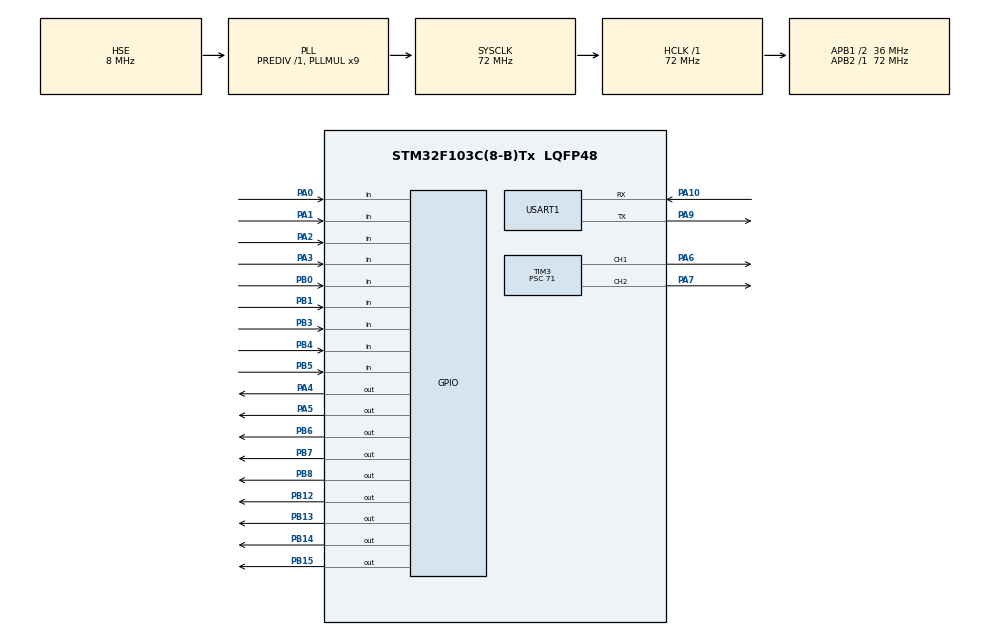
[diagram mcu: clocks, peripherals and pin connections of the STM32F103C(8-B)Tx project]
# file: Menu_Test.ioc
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Mcu.Family=STM32F1
Mcu.Name=STM32F103C(8-B)Tx
Mcu.Package=LQFP48
NVIC.PriorityGroup=NVIC_PRIORITYGROUP_4
NVIC.USART1_IRQn=true\:0\:0\:false\:false\:true\:true\:true\:true
PA0-WKUP.GPIO_PuPd=GPIO_PULLUP
PA0-WKUP.Signal=GPIO_Input
PA1.GPIO_PuPd=GPIO_PULLUP
PA1.Signal=GPIO_Input
PA10.Mode=Asynchronous
PA10.Signal=USART1_RX
PA13.Mode=Serial_Wire
PA13.Signal=SYS_JTMS-SWDIO
PA14.Mode=Serial_Wire
PA14.Signal=SYS_JTCK-SWCLK
PA2.GPIO_PuPd=GPIO_PULLUP
PA2.Signal=GPIO_Input
PA3.GPIO_PuPd=GPIO_PULLUP
PA3.Signal=GPIO_Input
PA4.PinState=GPIO_PIN_SET
PA4.Signal=GPIO_Output
PA5.PinState=GPIO_PIN_SET
PA5.Signal=GPIO_Output
PA6.Signal=S_TIM3_CH1
PA7.Signal=S_TIM3_CH2
PA9.Mode=Asynchronous
PA9.Signal=USART1_TX
PB0.GPIO_PuPd=GPIO_PULLUP
PB0.Signal=GPIO_Input
PB1.GPIO_PuPd=GPIO_PULLUP
PB1.Signal=GPIO_Input
PB12.GPIO_PuPd=GPIO_NOPULL
PB12.Signal=GPIO_Output
PB13.GPIO_PuPd=GPIO_NOPULL
PB13.Signal=GPIO_Output
PB14.GPIO_PuPd=GPIO_NOPULL
PB14.Signal=GPIO_Output
PB15.GPIO_PuPd=GPIO_NOPULL
PB15.Signal=GPIO_Output
PB3.GPIO_PuPd=GPIO_PULLUP
PB3.Signal=GPIO_Input
PB4.GPIO_PuPd=GPIO_PULLUP
PB4.Signal=GPIO_Input
PB5.GPIO_PuPd=GPIO_PULLUP
PB5.Signal=GPIO_Input
PB6.GPIO_Speed=GPIO_SPEED_FREQ_HIGH
PB6.PinState=GPIO_PIN_SET
PB6.Signal=GPIO_Output
PB7.GPIO_Speed=GPIO_SPEED_FREQ_HIGH
PB7.PinState=GPIO_PIN_SET
PB7.Signal=GPIO_Output
PB8.Signal=GPIO_Output
PD0-OSC_IN.Mode=HSE-External-Oscillator
PD0-OSC_IN.Signal=RCC_OSC_IN
PD1-OSC_OUT.Mode=HSE-External-Oscillator
PD1-OSC_OUT.Signal=RCC_OSC_OUT
ProjectManager.HeapSize=0x200
ProjectManager.StackSize=0x400
ProjectManager.TargetToolchain=MDK-ARM V5.32
RCC.AHBFreq_Value=72000000
RCC.APB1CLKDivider=RCC_HCLK_DIV2
RCC.APB1Freq_Value=36000000
RCC.APB1TimFreq_Value=72000000
RCC.APB2Freq_Value=72000000
RCC.APB2TimFreq_Value=72000000
RCC.HCLKFreq_Value=72000000
RCC.PLLMUL=RCC_PLL_MUL9
RCC.PLLSourceVirtual=RCC_PLLSOURCE_HSE
RCC.SYSCLKFreq_VALUE=72000000
RCC.SYSCLKSource=RCC_SYSCLKSOURCE_PLLCLK
RCC.USBFreq_Value=72000000
SH.S_TIM3_CH1.0=TIM3_CH1,PWM Generation1 CH1
SH.S_TIM3_CH2.0=TIM3_CH2,PWM Generation2 CH2
TIM3.Channel-PWM\ Generation1\ CH1=TIM_CHANNEL_1
TIM3.Channel-PWM\ Generation2\ CH2=TIM_CHANNEL_2
TIM3.Period=99
TIM3.Prescaler=71
USART1.VirtualMode=VM_ASYNC
board=custom

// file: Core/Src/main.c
/* USER CODE BEGIN Header */
/**
  ******************************************************************************
  * @file           : main.c
  * @brief          : Main program body
  ******************************************************************************
  * @attention
  *
  * Copyright (c) 2026 STMicroelectronics.
  * All rights reserved.
  *
  * This software is licensed under terms that can be found in the LICENSE file
  * in the root directory of this software component.
  * If no LICENSE file comes with this software, it is provided AS-IS.
  *
  ******************************************************************************
  */
/* USER CODE END Header */
#include "main.h"

/* USER CODE BEGIN Includes */
#include "app.h"
#include "key.h"
#include "led.h"
#include "oled.h"
#include "uart.h"
#include "line.h"
#include "motor.h"
#include "beep.h"
#include <stdio.h>
/* USER CODE END Includes */

TIM_HandleTypeDef htim3;

UART_HandleTypeDef huart1;

void SystemClock_Config(void);
static void MX_GPIO_Init(void);
static void MX_USART1_UART_Init(void);
static void MX_TIM3_Init(void);

/* USER CODE BEGIN 0 */
/**
  * @brief printf 重定向：所有 printf 输出通过 USART1 发送
  * @note  Keil 需勾选 Use MicroLIB
  */
int fputc(int ch, FILE *f)
{
  HAL_UART_Transmit(&huart1, (uint8_t *)&ch, 1, HAL_MAX_DELAY);
  return ch;
}

/* ================= 巡线全局状态 ================= */
uint8_t  line_running     = 0;   /* 0=停车，1=跑圈中 */
uint32_t line_start_tick  = 0;   /* 发车时刻（HAL_GetTick） */
uint32_t line_sample_tick = 0;   /* 10ms 采样计时 */
uint32_t line_ui_tick     = 0;   /* 100ms 显示计时 */
uint32_t line_lost_tick   = 0;   /* 脱线（全白）起始时刻，0 表示在线 */
float    last_time        = 0.0f;/* 本圈用时（秒，保留 1 位小数） */
uint8_t  line_black_cnt   = 0;   /* 全黑连续采样次数（消抖用） */

/* 上一次动作：脱线（全白）时沿用，给小车"找线"的机会 */
#define LINE_ACT_FORWARD  0
#define LINE_ACT_LEFT     1
#define LINE_ACT_RIGHT    2
uint8_t  last_error_action = LINE_ACT_FORWARD;
/* USER CODE END 0 */

int main(void)
{

  /* USER CODE BEGIN 1 */
  uint8_t key;                  /* 本周期扫描到的按键值，0 表示没按键 */
  uint32_t led_ui_tick = 0;     /* LED 状态界面上次刷新时间 */
  char line_spaced[12];         /* "1 1 0 1 1" 格式的传感器状态 */
  /* USER CODE END 1 */

  /* MCU Configuration--------------------------------------------------------*/

  /* Reset of all peripherals, Initializes the Flash interface and the Systick. */
  HAL_Init();

  /* Configure the system clock */
  SystemClock_Config();

  /* Initialize all configured peripherals */
  MX_GPIO_Init();
  MX_USART1_UART_Init();
  MX_TIM3_Init();
  /* USER CODE BEGIN 2 */
  OLED_Init();                  /* OLED 初始化：软件 I2C，PB6=SCL，PB7=SDA */
  Refresh_Display();            /* 上电先显示主菜单 */
  UART_Start();                 /* 启动第一次串口接收中断 */

	LED_Force_Off();
  Motor_Init();                 /* 电机方向引脚 + TIM3 双路 PWM */
  Beep_Init();                  /* 蜂鸣器 PB8 */
  Line_Init();                  /* 5 路传感器 + 关闭 JTAG（PB3/PB4）*/
  /* USER CODE END 2 */

  /* Infinite loop */
  while (1)
  {

    /* USER CODE BEGIN 3 */

    key = Key_Scan();                      /* 1. 扫描按键（内部 20ms 消抖）*/

    if (key != 0)                          /* 2. 有按键才处理 */
    {
      if (sys_state == MENU_MAIN)
      {
        /* ---------- 主菜单：移动光标或进入子菜单 ---------- */
        if (key == 1)                       /* 按键1：光标上移（0 的上一个是 3）*/
        {
          menu_cursor = (menu_cursor + MENU_ITEMS - 1) % MENU_ITEMS;
          Refresh_Display();
        }
        else if (key == 2)                  /* 按键2：光标下移（3 的下一个是 0）*/
        {
          menu_cursor = (menu_cursor + 1) % MENU_ITEMS;
          Refresh_Display();
        }
        else if (key == 3)                  /* 按键3：进入光标选中的子菜单 */
        {
          switch (menu_cursor)
          {
            case 0: sys_state = MENU_LED;  break;
            case 1: sys_state = MENU_INFO; break;
            case 2: Motor_Stop();          /* 进巡线界面先确保电机停转 */
                    sys_state = MODE_LINE; break;
            case 3: sys_state = MENU_EXT;  break;
            default: sys_state = MENU_MAIN; break;
          }
          Refresh_Display();        /* LED 子菜单的 Refresh_Display 内部会显示状态 */
        }
      }
      else if (sys_state == MENU_LED)
      {
        /* ---------- LED 子菜单 ---------- */
        if (key == 1)
        {
          LED_Toggle_All();                 /* 常亮 / 常灭切换，并打断闪烁 */
        }
        else if (key == 2)
        {
          LED_Start_Blink();                /* 开始交替闪烁，重新计时 30 秒 */
        }
        else if (key == 4)
        {
          LED_Force_Off();                  /* 关灯、清除闪烁状态 */
          sys_state = MENU_MAIN;
          Refresh_Display();
        }
      }
      else if (sys_state == MODE_LINE)
      {
        /* ---------- 巡线子菜单 ---------- */
        if (key == 1 && line_running == 0)      /* 按键1：开始巡线 */
        {
          Beep_Once();                          /* 先响一声，约 100ms */
          line_running      = 1;
          line_start_tick   = HAL_GetTick();    /* 发车瞬间开始计时 */
          line_sample_tick  = HAL_GetTick();
          line_ui_tick      = 0;                /* 立即刷新界面 */
          line_black_cnt    = 0;
          line_lost_tick    = 0;                /* 清除脱线状态 */
          last_error_action = LINE_ACT_FORWARD; /* 起步默认直行 */
          last_time         = 0.0f;             /* 清空上一圈成绩 */
          printf("LINE START\r\n");
        }
        else if (key == 4)                      /* 按键4：强制停车并退出 */
        {
          Motor_Stop();

          if (line_running)                     /* 中途手动停止，记录已用时 */
          {
            last_time = (HAL_GetTick() - line_start_tick) / 1000.0f;
            printf("LINE ABORT: %.1f s\r\n", last_time);
          }

          line_running = 0;
          sys_state = MENU_MAIN;
          Refresh_Display();
        }
      }
      else
      {
        /* ---------- 其它子菜单：只响应返回键 ---------- */
        if (key == 4)
        {
          sys_state = MENU_MAIN;
          Refresh_Display();
        }
      }
    }

    /* 3. 串口任务："111" 修改 var_a，"GET A" 返回 var_a */
    UART_Task();

    /* 4. var_a 被修改且正在信息界面时，刷新屏幕 */
    if (uart_refresh_flag)
    {
      uart_refresh_flag = 0;
      if (sys_state == MENU_INFO)
      {
        Refresh_Display();
      }
    }

    /* 5. LED 闪烁计时任务：每个循环都调用，内部非阻塞 */
    LED_Task();

    /* 6. LED 子菜单：按键后立即刷新，闪烁期间每 200ms 刷新一次 */
    if (sys_state == MENU_LED &&
        (key != 0 || (HAL_GetTick() - led_ui_tick) >= 200))
    {
      led_ui_tick = HAL_GetTick();
      Refresh_LED_Status();
    }

    /* 7. 巡线任务：10ms 采样控制，100ms 刷新显示 */
    if (sys_state == MODE_LINE)
    {
      /* --- 10ms：读传感器并控制电机 --- */
      if (line_running && (HAL_GetTick() - line_sample_tick) >= 10)
      {
        const char *s;
        uint8_t left, right, mid;

        line_sample_tick = HAL_GetTick();
        s = Line_ReadSensors();

        /* --- 判圈：连续 5 次全黑（约 50ms）+ 已跑 ≥3 秒 --- */
        if (Line_IsAllBlack())
        {
          if (line_black_cnt < 5) line_black_cnt++;
        }
        else
        {
          line_black_cnt = 0;
        }

        if (line_black_cnt >= 5 &&
            (HAL_GetTick() - line_start_tick) >= 3000)
        {
          Motor_Stop();                              /* 自动停车 */
          last_time = (HAL_GetTick() - line_start_tick) / 1000.0f;
          line_running = 0;
          line_black_cnt = 0;
          line_lost_tick = 0;
          line_ui_tick = 0;                          /* 立即刷新最终画面 */
          printf("LAP DONE: %.1f s\r\n", last_time);
        }
        else
        {
          left  = (s[0] == '0' || s[1] == '0');
          right = (s[3] == '0' || s[4] == '0');
          mid   = (s[2] == '0');

          if (left && right)                    /* 宽线 / 两侧都压：居中直行 */
          {
            Motor_Forward();
            last_error_action = LINE_ACT_FORWARD;
            line_lost_tick = 0;
          }
          else if (left)                        /* 左侧压线：急左转 */
          {
            Motor_TurnLeft();
            last_error_action = LINE_ACT_LEFT;
            line_lost_tick = 0;
          }
          else if (right)                       /* 右侧压线：急右转 */
          {
            Motor_TurnRight();
            last_error_action = LINE_ACT_RIGHT;
            line_lost_tick = 0;
          }
          else if (mid)                         /* 中间压线：直行 */
          {
            Motor_Forward();
            last_error_action = LINE_ACT_FORWARD;
            line_lost_tick = 0;
          }
          else                                  /* 全白：脱线找线，绝不停车 */
          {
            if (line_lost_tick == 0) line_lost_tick = HAL_GetTick();

            if ((HAL_GetTick() - line_lost_tick) <= 300)
            {
              /* 300ms 内：保持上一次的转向继续找线 */
              if (last_error_action == LINE_ACT_LEFT)       Motor_TurnLeft();
              else if (last_error_action == LINE_ACT_RIGHT) Motor_TurnRight();
              else                                          Motor_Forward();
            }
            else
            {
              /* 超过 300ms 仍无线：改直行继续找，仍然不停车 */
              Motor_Forward();
              last_error_action = LINE_ACT_FORWARD;
            }
          }
        }
      }

      /* --- 100ms：刷新 OLED 和串口 --- */
      if ((HAL_GetTick() - line_ui_tick) >= 100)
      {
        const char *s;
        char buf[24];

        line_ui_tick = HAL_GetTick();
        s = Line_ReadSensors();

        sprintf(line_spaced, "%c %c %c %c %c",
                s[0], s[1], s[2], s[3], s[4]);

        OLED_ShowString(0, 0, "==== LINE ====");

        if (line_running)
        {
          /* 跑圈中：实时累加显示已用时间 */
          sprintf(buf, "Time: %.1f s",
                  (HAL_GetTick() - line_start_tick) / 1000.0f);
          OLED_ShowString(0, 7, "4:Stop");
        }
        else if (last_time > 0.0f)
        {
          /* 跑完一圈：固定显示本圈成绩（6x8 字库无中文，用 Last 代替“本圈用时”） */
          sprintf(buf, "Last: %.1f s", last_time);
          OLED_ShowString(0, 7, "1:Start 4:Back");
        }
        else
        {
          sprintf(buf, "1:Start 4:Back     ");
          OLED_ShowString(0, 7, "4:Back");
        }
        OLED_ShowString(0, 1, buf);
        OLED_ShowString(0, 2, line_spaced);

        printf("Sensor: %s  %s\r\n", line_spaced, line_running ? "RUN" : "STOP");
      }
    }

    HAL_Delay(5);

  /* USER CODE END 3 */
}
}
void SystemClock_Config(void)
{
  RCC_OscInitTypeDef RCC_OscInitStruct = {0};
  RCC_ClkInitTypeDef RCC_ClkInitStruct = {0};

  /** Initializes the RCC Oscillators according to the specified parameters
  * in the RCC_OscInitTypeDef structure.
  */
  RCC_OscInitStruct.OscillatorType = RCC_OSCILLATORTYPE_HSE;
  RCC_OscInitStruct.HSEState = RCC_HSE_ON;
  RCC_OscInitStruct.HSEPredivValue = RCC_HSE_PREDIV_DIV1;
  RCC_OscInitStruct.HSIState = RCC_HSI_ON;
  RCC_OscInitStruct.PLL.PLLState = RCC_PLL_ON;
  RCC_OscInitStruct.PLL.PLLSource = RCC_PLLSOURCE_HSE;
  RCC_OscInitStruct.PLL.PLLMUL = RCC_PLL_MUL9;
  if (HAL_RCC_OscConfig(&RCC_OscInitStruct) != HAL_OK)
  {
    Error_Handler();
  }

  /** Initializes the CPU, AHB and APB buses clocks
  */
  RCC_ClkInitStruct.ClockType = RCC_CLOCKTYPE_HCLK|RCC_CLOCKTYPE_SYSCLK
                              |RCC_CLOCKTYPE_PCLK1|RCC_CLOCKTYPE_PCLK2;
  RCC_ClkInitStruct.SYSCLKSource = RCC_SYSCLKSOURCE_PLLCLK;
  RCC_ClkInitStruct.AHBCLKDivider = RCC_SYSCLK_DIV1;
  RCC_ClkInitStruct.APB1CLKDivider = RCC_HCLK_DIV2;
  RCC_ClkInitStruct.APB2CLKDivider = RCC_HCLK_DIV1;

  if (HAL_RCC_ClockConfig(&RCC_ClkInitStruct, FLASH_LATENCY_2) != HAL_OK)
  {
    Error_Handler();
  }
}

static void MX_TIM3_Init(void)
{

  TIM_MasterConfigTypeDef sMasterConfig = {0};
  TIM_OC_InitTypeDef sConfigOC = {0};

  htim3.Instance = TIM3;
  htim3.Init.Prescaler = 71;
  htim3.Init.CounterMode = TIM_COUNTERMODE_UP;
  htim3.Init.Period = 99;
  htim3.Init.ClockDivision = TIM_CLOCKDIVISION_DIV1;
  htim3.Init.AutoReloadPreload = TIM_AUTORELOAD_PRELOAD_DISABLE;
  if (HAL_TIM_PWM_Init(&htim3) != HAL_OK)
  {
    Error_Handler();
  }
  sMasterConfig.MasterOutputTrigger = TIM_TRGO_RESET;
  sMasterConfig.MasterSlaveMode = TIM_MASTERSLAVEMODE_DISABLE;
  if (HAL_TIMEx_MasterConfigSynchronization(&htim3, &sMasterConfig) != HAL_OK)
  {
    Error_Handler();
  }
  sConfigOC.OCMode = TIM_OCMODE_PWM1;
  sConfigOC.Pulse = 0;
  sConfigOC.OCPolarity = TIM_OCPOLARITY_HIGH;
  sConfigOC.OCFastMode = TIM_OCFAST_DISABLE;
  if (HAL_TIM_PWM_ConfigChannel(&htim3, &sConfigOC, TIM_CHANNEL_1) != HAL_OK)
  {
    Error_Handler();
  }
  if (HAL_TIM_PWM_ConfigChannel(&htim3, &sConfigOC, TIM_CHANNEL_2) != HAL_OK)
  {
    Error_Handler();
  }
  HAL_TIM_MspPostInit(&htim3);

}

static void MX_USART1_UART_Init(void)
{

  huart1.Instance = USART1;
  huart1.Init.BaudRate = 115200;
  huart1.Init.WordLength = UART_WORDLENGTH_8B;
  huart1.Init.StopBits = UART_STOPBITS_1;
  huart1.Init.Parity = UART_PARITY_NONE;
  huart1.Init.Mode = UART_MODE_TX_RX;
  huart1.Init.HwFlowCtl = UART_HWCONTROL_NONE;
  huart1.Init.OverSampling = UART_OVERSAMPLING_16;
  if (HAL_UART_Init(&huart1) != HAL_OK)
  {
    Error_Handler();
  }

}

static void MX_GPIO_Init(void)
{
  GPIO_InitTypeDef GPIO_InitStruct = {0};

  /* GPIO Ports Clock Enable */
  __HAL_RCC_GPIOD_CLK_ENABLE();
  __HAL_RCC_GPIOA_CLK_ENABLE();
  __HAL_RCC_GPIOB_CLK_ENABLE();

  /*Configure GPIO pin Output Level */
  HAL_GPIO_WritePin(GPIOA, GPIO_PIN_4|GPIO_PIN_5, GPIO_PIN_SET);

  /*Configure GPIO pin Output Level */
  HAL_GPIO_WritePin(GPIOB, GPIO_PIN_12|GPIO_PIN_13|GPIO_PIN_14|GPIO_PIN_15, GPIO_PIN_RESET);

  /* PB8 蜂鸣器为低电平触发：先写高电平，确保一上电绝对不响 */
  HAL_GPIO_WritePin(GPIOB, GPIO_PIN_8, GPIO_PIN_SET);

  /*Configure GPIO pin Output Level */
  HAL_GPIO_WritePin(GPIOB, GPIO_PIN_6|GPIO_PIN_7, GPIO_PIN_SET);

  /*Configure GPIO pins : PA0 PA1 PA2 PA3 */
  GPIO_InitStruct.Pin = GPIO_PIN_0|GPIO_PIN_1|GPIO_PIN_2|GPIO_PIN_3;
  GPIO_InitStruct.Mode = GPIO_MODE_INPUT;
  GPIO_InitStruct.Pull = GPIO_PULLUP;
  HAL_GPIO_Init(GPIOA, &GPIO_InitStruct);

  /*Configure GPIO pins : PA4 PA5 */
  GPIO_InitStruct.Pin = GPIO_PIN_4|GPIO_PIN_5;
  GPIO_InitStruct.Mode = GPIO_MODE_OUTPUT_PP;
  GPIO_InitStruct.Pull = GPIO_NOPULL;
  GPIO_InitStruct.Speed = GPIO_SPEED_FREQ_LOW;
  HAL_GPIO_Init(GPIOA, &GPIO_InitStruct);

  /*Configure GPIO pins : PB0 PB1 PB3 PB4
                           PB5 */
  GPIO_InitStruct.Pin = GPIO_PIN_0|GPIO_PIN_1|GPIO_PIN_3|GPIO_PIN_4
                          |GPIO_PIN_5;
  GPIO_InitStruct.Mode = GPIO_MODE_INPUT;
  GPIO_InitStruct.Pull = GPIO_PULLUP;
  HAL_GPIO_Init(GPIOB, &GPIO_InitStruct);

  /*Configure GPIO pins : PB12 PB13 PB14 PB15 电机方向控制 */
  GPIO_InitStruct.Pin = GPIO_PIN_12|GPIO_PIN_13|GPIO_PIN_14|GPIO_PIN_15;
  GPIO_InitStruct.Mode = GPIO_MODE_OUTPUT_PP;
  GPIO_InitStruct.Pull = GPIO_NOPULL;
  GPIO_InitStruct.Speed = GPIO_SPEED_FREQ_LOW;
  HAL_GPIO_Init(GPIOB, &GPIO_InitStruct);

  /*Configure GPIO pin : PB8 蜂鸣器，单独初始化，推挽输出，默认高电平（不响） */
  GPIO_InitStruct.Pin = GPIO_PIN_8;
  GPIO_InitStruct.Mode = GPIO_MODE_OUTPUT_PP;
  GPIO_InitStruct.Pull = GPIO_NOPULL;
  GPIO_InitStruct.Speed = GPIO_SPEED_FREQ_LOW;
  HAL_GPIO_Init(GPIOB, &GPIO_InitStruct);
  HAL_GPIO_WritePin(GPIOB, GPIO_PIN_8, GPIO_PIN_SET);   /* 配置完再确认一次高电平 */

  /*Configure GPIO pins : PB6 PB7 */
  GPIO_InitStruct.Pin = GPIO_PIN_6|GPIO_PIN_7;
  GPIO_InitStruct.Mode = GPIO_MODE_OUTPUT_PP;
  GPIO_InitStruct.Pull = GPIO_NOPULL;
  GPIO_InitStruct.Speed = GPIO_SPEED_FREQ_HIGH;
  HAL_GPIO_Init(GPIOB, &GPIO_InitStruct);

  /* USER CODE BEGIN MX_GPIO_Init_2 */
  /* PA5：LED2，推挽输出，初始高电平（灭） */
  GPIO_InitStruct.Pin = GPIO_PIN_5;
  GPIO_InitStruct.Mode = GPIO_MODE_OUTPUT_PP;
  GPIO_InitStruct.Pull = GPIO_NOPULL;
  GPIO_InitStruct.Speed = GPIO_SPEED_FREQ_LOW;
  HAL_GPIO_Init(GPIOA, &GPIO_InitStruct);
  HAL_GPIO_WritePin(GPIOA, GPIO_PIN_5, GPIO_PIN_SET);

  /* PA0~PA3：四个按键，输入 + 内部上拉（按下为低电平） */
  GPIO_InitStruct.Pin = GPIO_PIN_0 | GPIO_PIN_1 | GPIO_PIN_2 | GPIO_PIN_3;
  GPIO_InitStruct.Mode = GPIO_MODE_INPUT;
  GPIO_InitStruct.Pull = GPIO_PULLUP;
  HAL_GPIO_Init(GPIOA, &GPIO_InitStruct);
  /* USER CODE END MX_GPIO_Init_2 */
}

void Error_Handler(void)
{
  __disable_irq();
  while (1)
  {
  }
}
